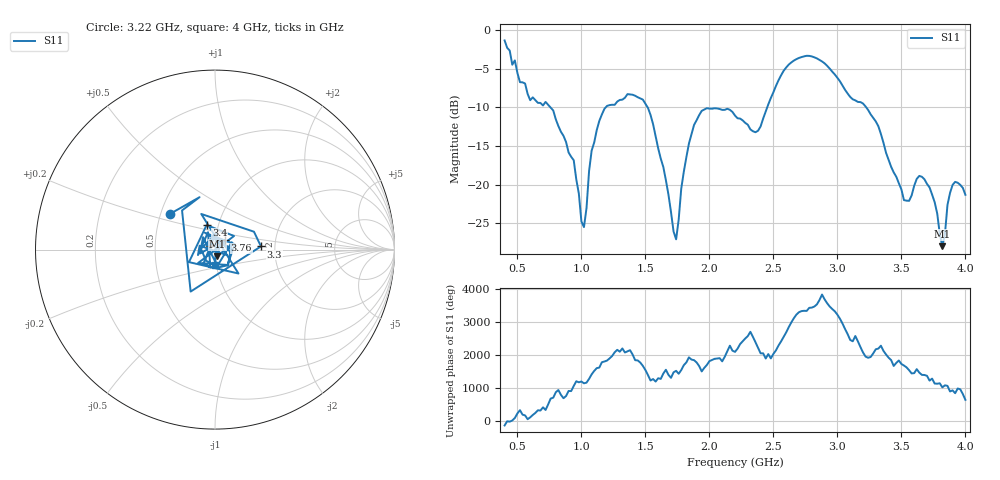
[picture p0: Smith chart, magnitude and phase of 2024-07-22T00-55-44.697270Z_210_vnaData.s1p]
!Created with skrf (http://scikit-rf.org).
# Hz S RI R 50.0
!freq ReS11 ImS11
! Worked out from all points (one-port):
!   181 points, 400 MHz to 4 GHz, reference 50 ohm
!   lowest |S11| = -28.0 dB at 3.82 GHz (marker M1), VSWR 1.08, Z = 51.2 - j3.87 ohm
!   |S11| at or under -10 dB: 759 MHz to 1.19 GHz (430.6 MHz wide, 44.2 % of centre); 1.518 GHz to 2.452 GHz (933.7 MHz wide, 47 % of centre); 3.225 GHz to end of sweep
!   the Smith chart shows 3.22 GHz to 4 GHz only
!   S11 on the Smith chart (normalised r, x): 3.22 GHz: 0.56, +0.25; 3.3 GHz: 1.69, +0.06; 3.4 GHz: 0.88, +0.25; 3.76 GHz: 1.11, +0.12; 4 GHz: 0.99, -0.17
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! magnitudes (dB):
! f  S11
! 400 MHz  -1.3
! 600 MHz  -9.1
! 860 MHz  -13.7
! 940 MHz  -16.8
! 1.02 GHz  -25.5
! 1.08 GHz  -15.6
! 1.14 GHz  -11.7
! 1.3 GHz  -9.0
! 1.52 GHz  -10.1
! 1.64 GHz  -17.7
! 1.72 GHz  -26.1
! 1.76 GHz  -24.5
! 1.84 GHz  -14.7
! 1.92 GHz  -11.0
! 2.2 GHz  -11.1
! 2.38 GHz  -13.0
! 2.66 GHz  -3.9
! 2.88 GHz  -4.1
! 3.1 GHz  -8.6
! 3.22 GHz  -9.9
! 3.3 GHz  -11.8
! 3.4 GHz  -16.8
! 3.56 GHz  -22.1
! 3.64 GHz  -18.9
! 3.76 GHz  -22.3
! 3.82 GHz  -28.0
! 3.9 GHz  -20.0
! 4 GHz  -21.3
